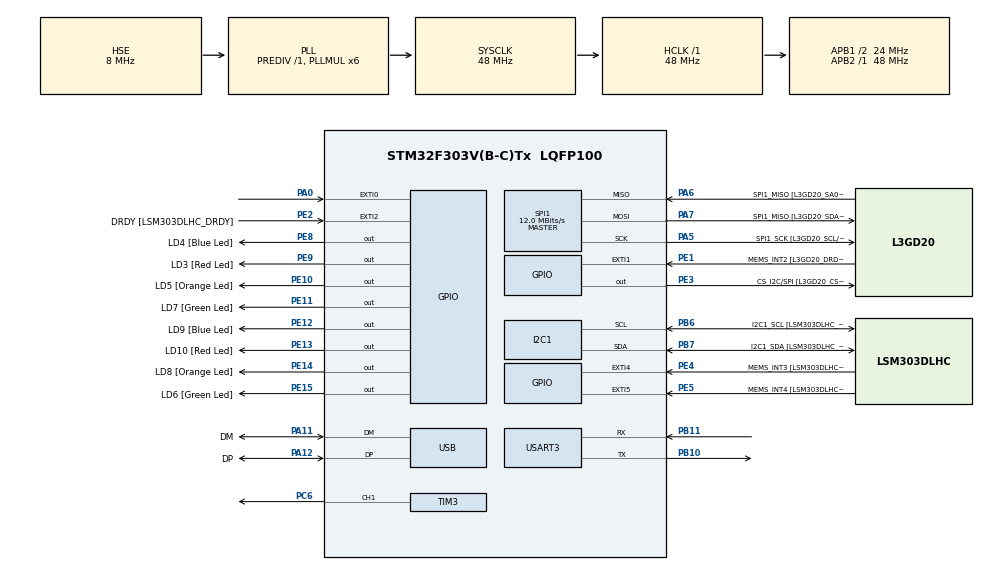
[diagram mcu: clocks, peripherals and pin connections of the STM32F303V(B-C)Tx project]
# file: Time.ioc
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I2C1.Timing-I2C=0x2000090E
Mcu.Family=STM32F3
Mcu.Name=STM32F303V(B-C)Tx
Mcu.Package=LQFP100
NVIC.EXTI0_IRQn=true\:0\:0\:false\:false\:true\:true\:true\:true
NVIC.PriorityGroup=NVIC_PRIORITYGROUP_0
NVIC.TIM2_IRQn=true\:0\:0\:false\:false\:true\:true\:true\:true
NVIC.TIM3_IRQn=true\:0\:0\:false\:false\:true\:true\:true\:true
NVIC.USART3_IRQn=true\:0\:0\:false\:false\:true\:true\:true\:true
PA0.Signal=GPXTI0
PA11.GPIO_Label=DM
PA11.Mode=Device
PA11.Signal=USB_DM
PA12.GPIO_Label=DP
PA12.Mode=Device
PA12.Signal=USB_DP
PA13.GPIO_Label=SWDIO
PA13.Mode=Serial_Wire
PA13.Signal=SYS_JTMS-SWDIO
PA14.GPIO_Label=SWCLK
PA14.Mode=Serial_Wire
PA14.Signal=SYS_JTCK-SWCLK
PA5.GPIO_Label=SPI1_SCK [L3GD20_SCL/SPC]
PA5.Mode=Full_Duplex_Master
PA5.Signal=SPI1_SCK
PA6.GPIO_Label=SPI1_MISO [L3GD20_SA0/SDO]
PA6.Mode=Full_Duplex_Master
PA6.Signal=SPI1_MISO
PA7.GPIO_Label=SPI1_MISO [L3GD20_SDA/SDI/SDO]
PA7.Mode=Full_Duplex_Master
PA7.Signal=SPI1_MOSI
PB10.Mode=Asynchronous
PB10.Signal=USART3_TX
PB11.Mode=Asynchronous
PB11.Signal=USART3_RX
PB3.GPIO_Label=SWO
PB3.Signal=SYS_JTDO-TRACESWO
PB6.GPIO_Label=I2C1_SCL [LSM303DLHC_SCL]
PB6.GPIO_Pu=GPIO_PULLUP
PB6.Mode=I2C
PB6.Signal=I2C1_SCL
PB7.GPIO_Label=I2C1_SDA [LSM303DLHC_SDA]
PB7.GPIO_Pu=GPIO_PULLUP
PB7.Mode=I2C
PB7.Signal=I2C1_SDA
PC14-OSC32_IN.GPIO_Label=OSC32_IN
PC14-OSC32_IN.Signal=RCC_OSC32_IN
PC15-OSC32_OUT.GPIO_Label=OSC32_OUT
PC15-OSC32_OUT.Signal=RCC_OSC32_OUT
PC6.Signal=S_TIM3_CH1
PE1.GPIO_Label=MEMS_INT2 [L3GD20_DRDY/INT2]
PE1.GPIO_ModeDefaultEXTI=GPIO_MODE_EVT_RISING
PE1.Signal=GPXTI1
PE10.GPIO_Label=LD5 [Orange Led]
PE10.Signal=GPIO_Output
PE11.GPIO_Label=LD7 [Green Led]
PE11.Signal=GPIO_Output
PE12.GPIO_Label=LD9 [Blue Led]
PE12.Signal=GPIO_Output
PE13.GPIO_Label=LD10 [Red Led]
PE13.Signal=GPIO_Output
PE14.GPIO_Label=LD8 [Orange Led]
PE14.Signal=GPIO_Output
PE15.GPIO_Label=LD6 [Green Led]
PE15.Signal=GPIO_Output
PE2.GPIO_Label=DRDY [LSM303DLHC_DRDY]
PE2.GPIO_ModeDefaultEXTI=GPIO_MODE_EVT_RISING
PE2.Signal=GPXTI2
PE3.GPIO_Label=CS_I2C/SPI [L3GD20_CS_I2C/SPI]
PE3.Signal=GPIO_Output
PE4.GPIO_Label=MEMS_INT3 [LSM303DLHC_INT1]
PE4.GPIO_ModeDefaultEXTI=GPIO_MODE_EVT_RISING
PE4.Signal=GPXTI4
PE5.GPIO_Label=MEMS_INT4 [LSM303DLHC_INT2]
PE5.GPIO_ModeDefaultEXTI=GPIO_MODE_EVT_RISING
PE5.Signal=GPXTI5
PE8.GPIO_Label=LD4 [Blue Led]
PE8.Signal=GPIO_Output
PE9.GPIO_Label=LD3 [Red Led]
PE9.Signal=GPIO_Output
PF0-OSC_IN.GPIO_Label=OSC_IN
PF0-OSC_IN.Mode=HSE-External-Clock-Source
PF0-OSC_IN.Signal=RCC_OSC_IN
PF1-OSC_OUT.GPIO_Label=OSC_OUT
PF1-OSC_OUT.Signal=RCC_OSC_OUT
ProjectManager.HeapSize=0x200
ProjectManager.StackSize=0x400
ProjectManager.TargetToolchain=STM32CubeIDE
RCC.AHBFreq_Value=48000000
RCC.APB1CLKDivider=RCC_HCLK_DIV2
RCC.APB1Freq_Value=24000000
RCC.APB1TimFreq_Value=48000000
RCC.APB2Freq_Value=48000000
RCC.APB2TimFreq_Value=48000000
RCC.CortexFreq_Value=48000000
RCC.HCLKFreq_Value=48000000
RCC.HSE_VALUE=8000000
RCC.HSI_VALUE=8000000
RCC.LSE_VALUE=32768
RCC.PLLMUL=RCC_PLL_MUL6
RCC.SYSCLKFreq_VALUE=48000000
RCC.SYSCLKSourceVirtual=RCC_SYSCLKSOURCE_PLLCLK
RCC.USBFreq_Value=48000000
RTC.AsynchPrediv=39
RTC.Format=RTC_FORMAT_BCD
RTC.SynchPrediv=999
SH.S_TIM3_CH1.0=TIM3_CH1,PWM Generation1 CH1
SPI1.BaudRatePrescaler=SPI_BAUDRATEPRESCALER_4
SPI1.BaudRatePrescaler-Full_Duplex_Master=SPI_BAUDRATEPRESCALER_2
SPI1.CalculateBaudRate=12.0 MBits/s
SPI1.CalculateBaudRate-Full_Duplex_Master=24.0 MBits/s
SPI1.Direction=SPI_DIRECTION_2LINES
SPI1.Mode=SPI_MODE_MASTER
SPI1.Mode-Full_Duplex_Master=SPI_MODE_MASTER
SPI1.VirtualType=VM_MASTER
TIM2.Period=1000-1
TIM2.Prescaler=46000-1
TIM3.Channel-PWM\ Generation1\ CH1=TIM_CHANNEL_1
TIM3.Period=1000-1
TIM3.Prescaler=45000-1
USART3.VirtualMode-Asynchronous=VM_ASYNC
VP_RTC_VS_RTC_Activate.Mode=RTC_Enabled
VP_RTC_VS_RTC_Calendar.Mode=RTC_Calendar
VP_TIM2_VS_ClockSourceINT.Mode=Internal
VP_TIM3_VS_ClockSourceINT.Mode=Internal
board=STM32F3DISCOVERY

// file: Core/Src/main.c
/* USER CODE BEGIN Header */
/**
  ******************************************************************************
  * @file           : main.c
  * @brief          : Main program body
  ******************************************************************************
  * @attention
  *
  * Copyright (c) 2023 STMicroelectronics.
  * All rights reserved.
  *
  * This software is licensed under terms that can be found in the LICENSE file
  * in the root directory of this software component.
  * If no LICENSE file comes with this software, it is provided AS-IS.
  *
  ******************************************************************************
  */
/* USER CODE END Header */
#include "main.h"

I2C_HandleTypeDef hi2c1;

RTC_HandleTypeDef hrtc;

SPI_HandleTypeDef hspi1;

TIM_HandleTypeDef htim2;
TIM_HandleTypeDef htim3;

UART_HandleTypeDef huart3;

PCD_HandleTypeDef hpcd_USB_FS;

void SystemClock_Config(void);
static void MX_GPIO_Init(void);
static void MX_I2C1_Init(void);
static void MX_SPI1_Init(void);
static void MX_USB_PCD_Init(void);
static void MX_RTC_Init(void);
static void MX_USART3_UART_Init(void);
static void MX_TIM2_Init(void);
static void MX_TIM3_Init(void);

/* USER CODE BEGIN 0 */

uint8_t character;
int index_arr = 0;
RTC_TimeTypeDef time_to_fire;
RTC_TimeTypeDef start_time;
uint8_t start_time_str[30];
uint32_t freq = 500;
uint8_t alert_time[30];

int alert_on = 0;

void set_alert_time(){
	   int index = 0;
	   sscanf(alert_time, "%d:%d:%d", &time_to_fire.Hours, &time_to_fire.Minutes, &time_to_fire.Seconds) == 3;
}

void turn_on_leds(){
			HAL_GPIO_WritePin(GPIOE, GPIO_PIN_8,1);
			HAL_GPIO_WritePin(GPIOE, GPIO_PIN_9,1);
			HAL_GPIO_WritePin(GPIOE, GPIO_PIN_10,1);
			HAL_GPIO_WritePin(GPIOE, GPIO_PIN_11,1);
			HAL_GPIO_WritePin(GPIOE, GPIO_PIN_12,1);
			HAL_GPIO_WritePin(GPIOE, GPIO_PIN_13,1);
			HAL_GPIO_WritePin(GPIOE, GPIO_PIN_14,1);
			HAL_GPIO_WritePin(GPIOE, GPIO_PIN_15,1);

}

void turn_off_leds(){
			HAL_GPIO_WritePin(GPIOE, GPIO_PIN_8,0);
			HAL_GPIO_WritePin(GPIOE, GPIO_PIN_9,0);
			HAL_GPIO_WritePin(GPIOE, GPIO_PIN_10,0);
			HAL_GPIO_WritePin(GPIOE, GPIO_PIN_11,0);
			HAL_GPIO_WritePin(GPIOE, GPIO_PIN_12,0);
			HAL_GPIO_WritePin(GPIOE, GPIO_PIN_13,0);
			HAL_GPIO_WritePin(GPIOE, GPIO_PIN_14,0);
			HAL_GPIO_WritePin(GPIOE, GPIO_PIN_15,0);

}

uint32_t pwm_channel = TIM_CHANNEL_1;  // Specify configured PWM channel
TIM_HandleTypeDef *pwm_timer = &htim3;

void PWM_Start()
{
  HAL_TIM_PWM_Start(pwm_timer, pwm_channel);
}

void set_start_time(){
	RTC_TimeTypeDef start_t ;
	start_t.Hours = 12;
	start_t.Minutes = 46;
	start_t.Seconds = 50;
    HAL_RTC_SetTime(&hrtc, &start_t, RTC_FORMAT_BIN);
}

void PWM_Change_Tone(uint16_t pwm_freq, uint16_t volume) // pwm_freq (1 - 20000), volume (0 - 1000)
{
  if (pwm_freq == 0 || pwm_freq > 20000)
  {
    __HAL_TIM_SET_COMPARE(pwm_timer, pwm_channel, 0);
  }
  else
  {
    const uint32_t internal_clock_freq = HAL_RCC_GetSysClockFreq();
	const uint16_t prescaler = 1 + internal_clock_freq / pwm_freq / 60000;
    const uint32_t timer_clock = internal_clock_freq / prescaler;
    const uint32_t period_cycles = timer_clock / pwm_freq;
    const uint32_t pulse_width = volume * period_cycles / 1000 / 2;

    pwm_timer->Instance->PSC = prescaler - 1;
    pwm_timer->Instance->ARR = period_cycles - 1;
    pwm_timer->Instance->EGR = TIM_EGR_UG;
    __HAL_TIM_SET_COMPARE(pwm_timer, pwm_channel, pulse_width); // pwm_timer->Instance->CCR2 = pulse_width;
  }
}

void HAL_TIM_PeriodElapsedCallback(TIM_HandleTypeDef *htim2)
{
    if (htim2->Instance == TIM2)
    {
      	check_time_fire();

  	  if(alert_on){
  		  turn_on_leds();
  		  PWM_Change_Tone(freq, 150);

  	  }
  	  else if(alert_on == 0){
  		  turn_off_leds();
    		PWM_Change_Tone(0, 150);

  	  }

    }

}

uint8_t timeStr[1000];

void check_time_fire(){
	  HAL_RTC_GetTime(&hrtc, &start_time, RTC_FORMAT_BIN);
	  sprintf(timeStr, "%2d:%2d:%2d\n", start_time.Hours, start_time.Minutes, start_time.Seconds);
	  HAL_UART_Transmit(&huart3, timeStr, 9, HAL_MAX_DELAY);

	  if(start_time.Hours == time_to_fire.Hours && start_time.Minutes == time_to_fire.Minutes && start_time.Seconds == time_to_fire.Seconds){
		  alert_on = 1;
	  }
}

void HAL_GPIO_EXTI_Callback(uint16_t GPIO_Pin)
{
	static uint32_t time = 0;
	if (HAL_GetTick()-time > 500){
		if (GPIO_Pin == GPIO_PIN_0)
		{
			alert_on = 0;
			time = HAL_GetTick();
		}
	}
}

void uart_rx_enable_it(void) {
	HAL_UART_Receive_IT(&huart3, &character, 1);
}

void HAL_UART_RxCpltCallback(UART_HandleTypeDef *huart3){
    if (huart3->Instance == USART3){
    	if(character != 10){
//			  HAL_UART_Transmit(&huart3, alert_time, 9, HAL_MAX_DELAY);
			  alert_time[index_arr++] = character;
    	}
    	else{
    		  if (alert_time[0]=='s'){
    			  RTC_TimeTypeDef start_t ;
    			  alert_time[index_arr++] = '\0';
    			  index_arr = 0;
    			   sscanf(alert_time, "s%d:%d:%d", &start_t.Hours, &start_t.Minutes, &start_t.Seconds) == 3;
    			   HAL_RTC_SetTime(&hrtc, &start_t, RTC_FORMAT_BIN);

    		  }
    		  else if (alert_time[0]=='A'){
    			  freq = 2000;
    			  index_arr = 0;

    		  }
    		  else if (alert_time[0]=='B'){
    			  freq = 1000;
    			  index_arr = 0;

    		  }
    		  else if (alert_time[0]=='C'){
    			  freq = 500;
    			  index_arr = 0;

    		  }

    		  else{
			  alert_time[index_arr++] = '\0';
			  index_arr = 0;
			  set_alert_time();
    		  }
    	}

    }
    uart_rx_enable_it();
}

/* USER CODE END 0 */

int main(void)
{

  /* MCU Configuration--------------------------------------------------------*/

  /* Reset of all peripherals, Initializes the Flash interface and the Systick. */
  HAL_Init();

  /* Configure the system clock */
  SystemClock_Config();

  /* Initialize all configured peripherals */
  MX_GPIO_Init();
  MX_I2C1_Init();
  MX_SPI1_Init();
  MX_USB_PCD_Init();
  MX_RTC_Init();
  MX_USART3_UART_Init();
  MX_TIM2_Init();
  MX_TIM3_Init();
  /* USER CODE BEGIN 2 */
  RTC_TimeTypeDef mytime ;
  char timeStr[100];
  mytime.Hours = 19;
  mytime.Minutes = 36;
  mytime.Seconds = 10;
//  HAL_RTC_SetTime(&hrtc, &mytime, RTC_FORMAT_BIN);
  time_to_fire.Hours = -1;
  time_to_fire.Minutes = 0;
  time_to_fire.Seconds = 0;
//  init_time();
  HAL_TIM_Base_Start_IT(&htim2);
  HAL_TIM_Base_Start_IT(&htim3);

  PWM_Start();
  set_start_time();
  uart_rx_enable_it();

  /* USER CODE END 2 */

  /* Infinite loop */
  /* USER CODE BEGIN WHILE */
  while (1)
  {
//	  __HAL_TIM_SET_COMPARE(&htim2, TIM_CHANNEL_2, 500);

    /* USER CODE END WHILE */

    /* USER CODE BEGIN 3 */

	  HAL_RTC_GetTime(&hrtc, &mytime, RTC_FORMAT_BIN);
//	  setCursor(0,0);
//	  sprintf(timeStr, "%2d:%2d:%2d-%2d\n", mytime.Hours, mytime.Minutes, mytime.Seconds, index_arr);
//	  HAL_UART_Transmit(&huart3, timeStr, 12, HAL_MAX_DELAY);
//	  sprintf(timeStr, "%2d:%2d:%2d\n", time_to_fire.Hours, time_to_fire.Minutes, time_to_fire.Seconds);
//	  HAL_UART_Transmit(&huart3, timeStr, 9, HAL_MAX_DELAY);

	  HAL_Delay(2000);
  }
  /* USER CODE END 3 */
}

void SystemClock_Config(void)
{
  RCC_OscInitTypeDef RCC_OscInitStruct = {0};
  RCC_ClkInitTypeDef RCC_ClkInitStruct = {0};
  RCC_PeriphCLKInitTypeDef PeriphClkInit = {0};

  /** Initializes the RCC Oscillators according to the specified parameters
  * in the RCC_OscInitTypeDef structure.
  */
  RCC_OscInitStruct.OscillatorType = RCC_OSCILLATORTYPE_HSI|RCC_OSCILLATORTYPE_LSI
                              |RCC_OSCILLATORTYPE_HSE;
  RCC_OscInitStruct.HSEState = RCC_HSE_BYPASS;
  RCC_OscInitStruct.HSEPredivValue = RCC_HSE_PREDIV_DIV1;
  RCC_OscInitStruct.HSIState = RCC_HSI_ON;
  RCC_OscInitStruct.HSICalibrationValue = RCC_HSICALIBRATION_DEFAULT;
  RCC_OscInitStruct.LSIState = RCC_LSI_ON;
  RCC_OscInitStruct.PLL.PLLState = RCC_PLL_ON;
  RCC_OscInitStruct.PLL.PLLSource = RCC_PLLSOURCE_HSE;
  RCC_OscInitStruct.PLL.PLLMUL = RCC_PLL_MUL6;
  if (HAL_RCC_OscConfig(&RCC_OscInitStruct) != HAL_OK)
  {
    Error_Handler();
  }

  /** Initializes the CPU, AHB and APB buses clocks
  */
  RCC_ClkInitStruct.ClockType = RCC_CLOCKTYPE_HCLK|RCC_CLOCKTYPE_SYSCLK
                              |RCC_CLOCKTYPE_PCLK1|RCC_CLOCKTYPE_PCLK2;
  RCC_ClkInitStruct.SYSCLKSource = RCC_SYSCLKSOURCE_PLLCLK;
  RCC_ClkInitStruct.AHBCLKDivider = RCC_SYSCLK_DIV1;
  RCC_ClkInitStruct.APB1CLKDivider = RCC_HCLK_DIV2;
  RCC_ClkInitStruct.APB2CLKDivider = RCC_HCLK_DIV1;

  if (HAL_RCC_ClockConfig(&RCC_ClkInitStruct, FLASH_LATENCY_1) != HAL_OK)
  {
    Error_Handler();
  }
  PeriphClkInit.PeriphClockSelection = RCC_PERIPHCLK_USB|RCC_PERIPHCLK_USART3
                              |RCC_PERIPHCLK_I2C1|RCC_PERIPHCLK_RTC;
  PeriphClkInit.Usart3ClockSelection = RCC_USART3CLKSOURCE_PCLK1;
  PeriphClkInit.I2c1ClockSelection = RCC_I2C1CLKSOURCE_HSI;
  PeriphClkInit.RTCClockSelection = RCC_RTCCLKSOURCE_LSI;
  PeriphClkInit.USBClockSelection = RCC_USBCLKSOURCE_PLL;
  if (HAL_RCCEx_PeriphCLKConfig(&PeriphClkInit) != HAL_OK)
  {
    Error_Handler();
  }
}

static void MX_I2C1_Init(void)
{

  hi2c1.Instance = I2C1;
  hi2c1.Init.Timing = 0x2000090E;
  hi2c1.Init.OwnAddress1 = 0;
  hi2c1.Init.AddressingMode = I2C_ADDRESSINGMODE_7BIT;
  hi2c1.Init.DualAddressMode = I2C_DUALADDRESS_DISABLE;
  hi2c1.Init.OwnAddress2 = 0;
  hi2c1.Init.OwnAddress2Masks = I2C_OA2_NOMASK;
  hi2c1.Init.GeneralCallMode = I2C_GENERALCALL_DISABLE;
  hi2c1.Init.NoStretchMode = I2C_NOSTRETCH_DISABLE;
  if (HAL_I2C_Init(&hi2c1) != HAL_OK)
  {
    Error_Handler();
  }

  /** Configure Analogue filter
  */
  if (HAL_I2CEx_ConfigAnalogFilter(&hi2c1, I2C_ANALOGFILTER_ENABLE) != HAL_OK)
  {
    Error_Handler();
  }

  /** Configure Digital filter
  */
  if (HAL_I2CEx_ConfigDigitalFilter(&hi2c1, 0) != HAL_OK)
  {
    Error_Handler();
  }

}

static void MX_RTC_Init(void)
{

  RTC_TimeTypeDef sTime = {0};
  RTC_DateTypeDef sDate = {0};

  /** Initialize RTC Only
  */
  hrtc.Instance = RTC;
  hrtc.Init.HourFormat = RTC_HOURFORMAT_24;
  hrtc.Init.AsynchPrediv = 39;
  hrtc.Init.SynchPrediv = 999;
  hrtc.Init.OutPut = RTC_OUTPUT_DISABLE;
  hrtc.Init.OutPutPolarity = RTC_OUTPUT_POLARITY_HIGH;
  hrtc.Init.OutPutType = RTC_OUTPUT_TYPE_OPENDRAIN;
  if (HAL_RTC_Init(&hrtc) != HAL_OK)
  {
    Error_Handler();
  }

  /** Initialize RTC and set the Time and Date
  */
  sTime.Hours = 0x0;
  sTime.Minutes = 0x0;
  sTime.Seconds = 0x0;
  sTime.DayLightSaving = RTC_DAYLIGHTSAVING_NONE;
  sTime.StoreOperation = RTC_STOREOPERATION_RESET;
  if (HAL_RTC_SetTime(&hrtc, &sTime, RTC_FORMAT_BCD) != HAL_OK)
  {
    Error_Handler();
  }
  sDate.WeekDay = RTC_WEEKDAY_MONDAY;
  sDate.Month = RTC_MONTH_JANUARY;
  sDate.Date = 0x1;
  sDate.Year = 0x0;

  if (HAL_RTC_SetDate(&hrtc, &sDate, RTC_FORMAT_BCD) != HAL_OK)
  {
    Error_Handler();
  }

}

static void MX_SPI1_Init(void)
{

  /* SPI1 parameter configuration*/
  hspi1.Instance = SPI1;
  hspi1.Init.Mode = SPI_MODE_MASTER;
  hspi1.Init.Direction = SPI_DIRECTION_2LINES;
  hspi1.Init.DataSize = SPI_DATASIZE_4BIT;
  hspi1.Init.CLKPolarity = SPI_POLARITY_LOW;
  hspi1.Init.CLKPhase = SPI_PHASE_1EDGE;
  hspi1.Init.NSS = SPI_NSS_SOFT;
  hspi1.Init.BaudRatePrescaler = SPI_BAUDRATEPRESCALER_4;
  hspi1.Init.FirstBit = SPI_FIRSTBIT_MSB;
  hspi1.Init.TIMode = SPI_TIMODE_DISABLE;
  hspi1.Init.CRCCalculation = SPI_CRCCALCULATION_DISABLE;
  hspi1.Init.CRCPolynomial = 7;
  hspi1.Init.CRCLength = SPI_CRC_LENGTH_DATASIZE;
  hspi1.Init.NSSPMode = SPI_NSS_PULSE_ENABLE;
  if (HAL_SPI_Init(&hspi1) != HAL_OK)
  {
    Error_Handler();
  }

}

static void MX_TIM2_Init(void)
{

  TIM_ClockConfigTypeDef sClockSourceConfig = {0};
  TIM_MasterConfigTypeDef sMasterConfig = {0};

  htim2.Instance = TIM2;
  htim2.Init.Prescaler = 46000-1;
  htim2.Init.CounterMode = TIM_COUNTERMODE_UP;
  htim2.Init.Period = 1000-1;
  htim2.Init.ClockDivision = TIM_CLOCKDIVISION_DIV1;
  htim2.Init.AutoReloadPreload = TIM_AUTORELOAD_PRELOAD_DISABLE;
  if (HAL_TIM_Base_Init(&htim2) != HAL_OK)
  {
    Error_Handler();
  }
  sClockSourceConfig.ClockSource = TIM_CLOCKSOURCE_INTERNAL;
  if (HAL_TIM_ConfigClockSource(&htim2, &sClockSourceConfig) != HAL_OK)
  {
    Error_Handler();
  }
  sMasterConfig.MasterOutputTrigger = TIM_TRGO_RESET;
  sMasterConfig.MasterSlaveMode = TIM_MASTERSLAVEMODE_DISABLE;
  if (HAL_TIMEx_MasterConfigSynchronization(&htim2, &sMasterConfig) != HAL_OK)
  {
    Error_Handler();
  }

}

static void MX_TIM3_Init(void)
{

  TIM_ClockConfigTypeDef sClockSourceConfig = {0};
  TIM_MasterConfigTypeDef sMasterConfig = {0};
  TIM_OC_InitTypeDef sConfigOC = {0};

  htim3.Instance = TIM3;
  htim3.Init.Prescaler = 45000-1;
  htim3.Init.CounterMode = TIM_COUNTERMODE_UP;
  htim3.Init.Period = 1000-1;
  htim3.Init.ClockDivision = TIM_CLOCKDIVISION_DIV1;
  htim3.Init.AutoReloadPreload = TIM_AUTORELOAD_PRELOAD_DISABLE;
  if (HAL_TIM_Base_Init(&htim3) != HAL_OK)
  {
    Error_Handler();
  }
  sClockSourceConfig.ClockSource = TIM_CLOCKSOURCE_INTERNAL;
  if (HAL_TIM_ConfigClockSource(&htim3, &sClockSourceConfig) != HAL_OK)
  {
    Error_Handler();
  }
  if (HAL_TIM_PWM_Init(&htim3) != HAL_OK)
  {
    Error_Handler();
  }
  sMasterConfig.MasterOutputTrigger = TIM_TRGO_RESET;
  sMasterConfig.MasterSlaveMode = TIM_MASTERSLAVEMODE_DISABLE;
  if (HAL_TIMEx_MasterConfigSynchronization(&htim3, &sMasterConfig) != HAL_OK)
  {
    Error_Handler();
  }
  sConfigOC.OCMode = TIM_OCMODE_PWM1;
  sConfigOC.Pulse = 0;
  sConfigOC.OCPolarity = TIM_OCPOLARITY_HIGH;
  sConfigOC.OCFastMode = TIM_OCFAST_DISABLE;
  if (HAL_TIM_PWM_ConfigChannel(&htim3, &sConfigOC, TIM_CHANNEL_1) != HAL_OK)
  {
    Error_Handler();
  }
  HAL_TIM_MspPostInit(&htim3);

}

static void MX_USART3_UART_Init(void)
{

  huart3.Instance = USART3;
  huart3.Init.BaudRate = 38400;
  huart3.Init.WordLength = UART_WORDLENGTH_8B;
  huart3.Init.StopBits = UART_STOPBITS_1;
  huart3.Init.Parity = UART_PARITY_NONE;
  huart3.Init.Mode = UART_MODE_TX_RX;
  huart3.Init.HwFlowCtl = UART_HWCONTROL_NONE;
  huart3.Init.OverSampling = UART_OVERSAMPLING_16;
  huart3.Init.OneBitSampling = UART_ONE_BIT_SAMPLE_DISABLE;
  huart3.AdvancedInit.AdvFeatureInit = UART_ADVFEATURE_NO_INIT;
  if (HAL_UART_Init(&huart3) != HAL_OK)
  {
    Error_Handler();
  }

}

static void MX_USB_PCD_Init(void)
{

  hpcd_USB_FS.Instance = USB;
  hpcd_USB_FS.Init.dev_endpoints = 8;
  hpcd_USB_FS.Init.speed = PCD_SPEED_FULL;
  hpcd_USB_FS.Init.phy_itface = PCD_PHY_EMBEDDED;
  hpcd_USB_FS.Init.low_power_enable = DISABLE;
  hpcd_USB_FS.Init.battery_charging_enable = DISABLE;
  if (HAL_PCD_Init(&hpcd_USB_FS) != HAL_OK)
  {
    Error_Handler();
  }

}

static void MX_GPIO_Init(void)
{
  GPIO_InitTypeDef GPIO_InitStruct = {0};

  /* GPIO Ports Clock Enable */
  __HAL_RCC_GPIOE_CLK_ENABLE();
  __HAL_RCC_GPIOC_CLK_ENABLE();
  __HAL_RCC_GPIOF_CLK_ENABLE();
  __HAL_RCC_GPIOA_CLK_ENABLE();
  __HAL_RCC_GPIOB_CLK_ENABLE();

  /*Configure GPIO pin Output Level */
  HAL_GPIO_WritePin(GPIOE, CS_I2C_SPI_Pin|LD4_Pin|LD3_Pin|LD5_Pin
                          |LD7_Pin|LD9_Pin|LD10_Pin|LD8_Pin
                          |LD6_Pin, GPIO_PIN_RESET);

  /*Configure GPIO pins : DRDY_Pin MEMS_INT3_Pin MEMS_INT4_Pin MEMS_INT2_Pin */
  GPIO_InitStruct.Pin = DRDY_Pin|MEMS_INT3_Pin|MEMS_INT4_Pin|MEMS_INT2_Pin;
  GPIO_InitStruct.Mode = GPIO_MODE_EVT_RISING;
  GPIO_InitStruct.Pull = GPIO_NOPULL;
  HAL_GPIO_Init(GPIOE, &GPIO_InitStruct);

  /*Configure GPIO pins : CS_I2C_SPI_Pin LD4_Pin LD3_Pin LD5_Pin
                           LD7_Pin LD9_Pin LD10_Pin LD8_Pin
                           LD6_Pin */
  GPIO_InitStruct.Pin = CS_I2C_SPI_Pin|LD4_Pin|LD3_Pin|LD5_Pin
                          |LD7_Pin|LD9_Pin|LD10_Pin|LD8_Pin
                          |LD6_Pin;
  GPIO_InitStruct.Mode = GPIO_MODE_OUTPUT_PP;
  GPIO_InitStruct.Pull = GPIO_NOPULL;
  GPIO_InitStruct.Speed = GPIO_SPEED_FREQ_LOW;
  HAL_GPIO_Init(GPIOE, &GPIO_InitStruct);

  /*Configure GPIO pin : PA0 */
  GPIO_InitStruct.Pin = GPIO_PIN_0;
  GPIO_InitStruct.Mode = GPIO_MODE_IT_RISING;
  GPIO_InitStruct.Pull = GPIO_NOPULL;
  HAL_GPIO_Init(GPIOA, &GPIO_InitStruct);

  /* EXTI interrupt init*/
  HAL_NVIC_SetPriority(EXTI0_IRQn, 0, 0);
  HAL_NVIC_EnableIRQ(EXTI0_IRQn);

}

void Error_Handler(void)
{
  __disable_irq();
  while (1)
  {
  }
}
